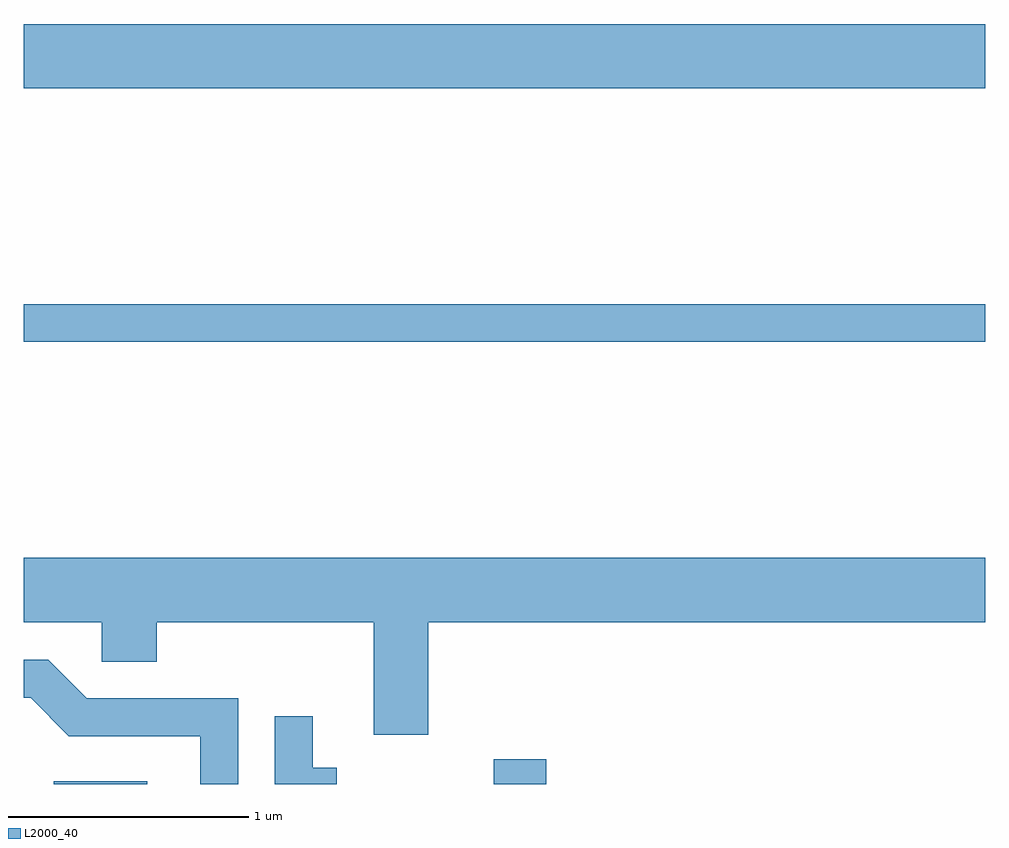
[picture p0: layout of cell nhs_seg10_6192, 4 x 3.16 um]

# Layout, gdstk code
import gdstk
lib = gdstk.Library(unit=1e-6, precision=1e-09)
def R(c, l, rs):  # rectangles x0, y0, x1, y1
    for r in rs: c.add(gdstk.rectangle(r[:2], r[2:], *l))
def P(c, l, *ps):  # polygons
    for p in ps: c.add(gdstk.Polygon(p, *l))
L2000_40 = (2000, 40)

nhs_seg10_6192 = lib.new_cell('nhs_seg10_6192')
R(nhs_seg10_6192, L2000_40, [(367.736,2166.522,368.124,2166.534), (369.566,2166.522,369.784,2166.624), (367.611,2168.361,371.611,2168.519), (367.611,2169.416,371.611,2169.684)])
P(nhs_seg10_6192, L2000_40, [(369.294,2167.196),(371.611,2167.196),(371.611,2167.464),(367.611,2167.464),(367.611,2167.196),(367.936,2167.196),(367.936,2167.031),(368.164,2167.031),(368.164,2167.196),(369.066,2167.196),(369.066,2166.726),(369.294,2166.726)],
  [(368.504,2166.879),(367.872,2166.879),(367.712,2167.039),(367.611,2167.039),(367.611,2166.881),(367.639,2166.881),(367.799,2166.721),(368.346,2166.721),(368.346,2166.522),(368.504,2166.522)],
  [(368.914,2166.589),(368.814,2166.589),(368.814,2166.803),(368.656,2166.803),(368.656,2166.522),(368.914,2166.522)])

lib.write_gds('nhs_seg10_6192.gds')
